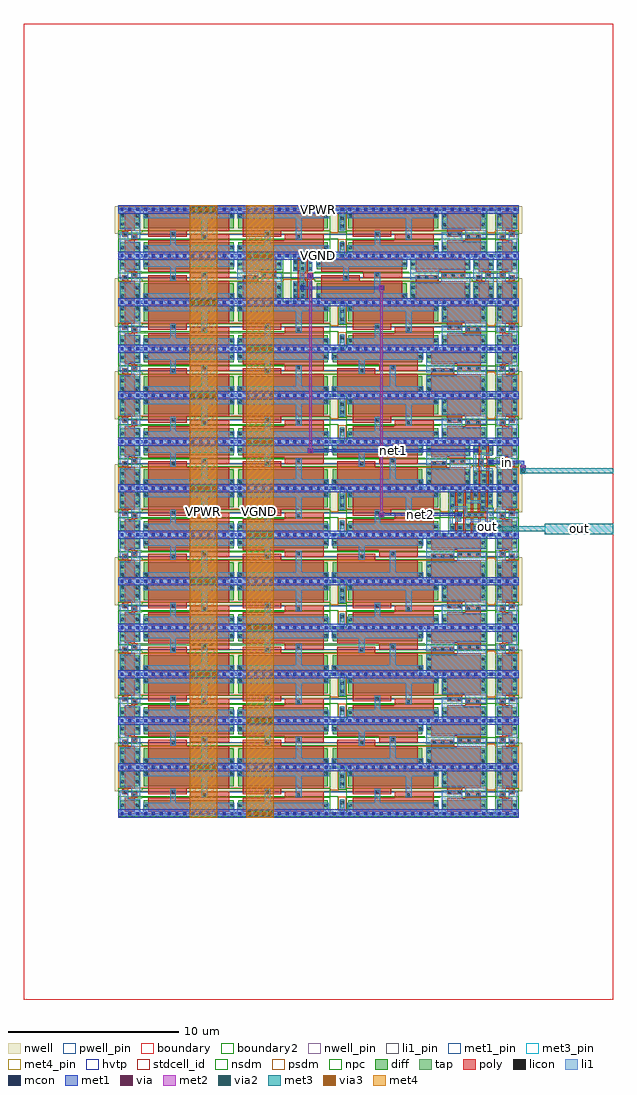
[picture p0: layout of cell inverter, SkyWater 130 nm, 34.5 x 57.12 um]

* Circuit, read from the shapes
.subckt inverter VGND VPWR in net1 net2 out
XM1 VGND VPWR VGND VGND sky130_fd_pr__nfet_01v8 w=0.55 l=0.59 m=27
XM2 VGND VPWR VGND VGND sky130_fd_pr__nfet_01v8 w=0.55 l=4.73 m=38
XM3 VGND VPWR VGND VGND sky130_fd_pr__nfet_01v8 w=0.55 l=1.97 m=8
XM4 net2 net1 VGND VGND sky130_fd_pr__nfet_01v8 w=0.65 l=0.15 m=2
XM5 VGND VPWR VGND VGND sky130_fd_pr__nfet_01v8 w=0.55 l=2.89 m=5
XM6 VGND net2 n1 VGND sky130_fd_pr__nfet_01v8 w=0.42 l=0.15
XM7 out n1 VGND VGND sky130_fd_pr__nfet_01v8 w=0.42 l=0.15 m=4
XM8 VGND n2 net1 VGND sky130_fd_pr__nfet_01v8 w=0.52 l=0.15
XM9 n2 in VGND VGND sky130_fd_pr__nfet_01v8 w=0.52 l=0.15
XM10 VPWR VGND VPWR VPWR sky130_fd_pr__pfet_01v8_hvt w=0.87 l=0.59 m=27
XM11 VPWR VGND VPWR VPWR sky130_fd_pr__pfet_01v8_hvt w=0.87 l=4.73 m=38
XM12 VPWR VGND VPWR VPWR sky130_fd_pr__pfet_01v8_hvt w=0.87 l=1.97 m=8
XM13 net2 net1 VPWR VPWR sky130_fd_pr__pfet_01v8_hvt w=1 l=0.15 m=2
XM14 VPWR VGND VPWR VPWR sky130_fd_pr__pfet_01v8_hvt w=0.87 l=2.89 m=5
XM15 VPWR net2 n1 VPWR sky130_fd_pr__pfet_01v8_hvt w=1 l=0.15
XM16 out n1 VPWR VPWR sky130_fd_pr__pfet_01v8_hvt w=1 l=0.15 m=4
XM17 VPWR n2 net1 VPWR sky130_fd_pr__pfet_01v8_hvt w=0.79 l=0.15
XM18 n2 in VPWR VPWR sky130_fd_pr__pfet_01v8_hvt w=0.79 l=0.15
.ends

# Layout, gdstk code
from math import pi, radians
import gdstk
lib = gdstk.Library(unit=1e-6, precision=1e-09)
def R(c, l, rs):  # rectangles x0, y0, x1, y1
    for r in rs: c.add(gdstk.rectangle(r[:2], r[2:], *l))
def A(c, l, x, y, w, h, nx, ny, dx, dy):  # array of equal rectangles
    R(c, l, [(x+i*dx, y+j*dy, x+i*dx+w, y+j*dy+h) for i in range(nx) for j in range(ny)])
def P(c, l, *ps):  # polygons
    for p in ps: c.add(gdstk.Polygon(p, *l))
nwell_pin = (64, 16)
nwell = (64, 20)
diff = (65, 20)
tap = (65, 44)
poly = (66, 20)
licon = (66, 44)
li1_pin = (67, 16)
li1 = (67, 20)
mcon = (67, 44)
met1_pin = (68, 16)
met1 = (68, 20)
via = (68, 44)
met2 = (69, 20)
via2 = (69, 44)
met3_pin = (70, 16)
met3 = (70, 20)
via3 = (70, 44)
met4_pin = (71, 16)
met4 = (71, 20)
hvtp = (78, 44)
stdcell_id = (81, 4)
nsdm = (93, 44)
psdm = (94, 20)
npc = (95, 20)
pwell_pin = (122, 16)
boundary = (235, 4)
boundary2 = (236, 0)

sky130_ef_sc_hd__decap_1 = lib.new_cell('sky130_ef_sc_hd__decap_12')
R(sky130_ef_sc_hd__decap_1, nwell_pin, [(0.145,2.635,0.315,2.805)])
R(sky130_ef_sc_hd__decap_1, nwell, [(-0.19,1.305,5.71,2.91)])
R(sky130_ef_sc_hd__decap_1, diff, [(0.135,0.235,5.385,0.785), (0.135,1.615,5.385,2.485)])
P(sky130_ef_sc_hd__decap_1, poly, [(0.395,1.125),(0.395,2.615),(5.125,2.615),(5.125,1.485),(2.645,1.485),(2.645,1.125)],
  [(0.395,0.105),(0.395,0.915),(2.855,0.915),(2.855,1.275),(5.125,1.275),(5.125,0.105)])
R(sky130_ef_sc_hd__decap_1, licon, [(0.175,0.39,0.345,0.56), (5.175,0.39,5.345,0.56), (3.575,1.025,3.745,1.195), (1.755,1.205,1.925,1.375), (0.175,2.255,0.345,2.425), (5.175,2.255,5.345,2.425)])
R(sky130_ef_sc_hd__decap_1, li1, [(0,-0.085,5.52,0.085), (0.085,0.085,5.43,0.63), (1.67,0.63,2.01,1.46), (3.49,0.95,3.84,2.2), (0.085,2.2,5.43,2.635), (0,2.635,5.52,2.805)])
A(sky130_ef_sc_hd__decap_1, mcon, 0.145, -0.085, 0.17, 0.17, 12, 2, 0.46, 2.72)
R(sky130_ef_sc_hd__decap_1, met1_pin, [(0.145,-0.085,0.315,0.085), (0.145,2.635,0.315,2.805)])
R(sky130_ef_sc_hd__decap_1, hvtp, [(0,1.25,5.52,2.72)])
R(sky130_ef_sc_hd__decap_1, stdcell_id, [(0,0,5.52,2.72)])
R(sky130_ef_sc_hd__decap_1, nsdm, [(0,-0.19,5.52,1.015)])
R(sky130_ef_sc_hd__decap_1, psdm, [(0,1.485,5.52,2.91)])
R(sky130_ef_sc_hd__decap_1, npc, [(0,0.925,5.52,1.475)])
R(sky130_ef_sc_hd__decap_1, pwell_pin, [(0.145,-0.085,0.315,0.085)])
R(sky130_ef_sc_hd__decap_1, boundary2, [(0,0,5.52,2.72)])
sky130_ef_sc_hd__decap_1.add(gdstk.FlexPath([(0,2.72),(5.52,2.72)], 0.48, ends="flush", simple_path=True, layer=68, datatype=20))  # met1
sky130_ef_sc_hd__decap_1.add(gdstk.FlexPath([(0,0),(5.52,0)], 0.48, ends="flush", simple_path=True, layer=68, datatype=20))  # met1
sky130_ef_sc_hd__decap_1.add(gdstk.Label('VGND', (0.23,0), layer=68, texttype=5))
sky130_ef_sc_hd__decap_1.add(gdstk.Label('VPWR', (0.23,2.72), layer=68, texttype=5))
sky130_ef_sc_hd__decap_1.add(gdstk.Label('VPB', (0.23,2.72), layer=64, texttype=5))
sky130_ef_sc_hd__decap_1.add(gdstk.Label('VNB', (0.23,0), layer=64, texttype=59))
sky130_ef_sc_hd__decap_1.add(gdstk.Label('decap_12', (0,0), layer=83, texttype=44))

sky130_fd_sc_hd__decap_3 = lib.new_cell('sky130_fd_sc_hd__decap_3')
R(sky130_fd_sc_hd__decap_3, nwell_pin, [(0.145,2.635,0.315,2.805)])
R(sky130_fd_sc_hd__decap_3, nwell, [(-0.19,1.305,1.57,2.91)])
R(sky130_fd_sc_hd__decap_3, diff, [(0.135,0.235,1.245,0.785), (0.135,1.615,1.245,2.485)])
P(sky130_fd_sc_hd__decap_3, poly, [(0.395,0.105),(0.395,0.915),(0.795,0.915),(0.795,1.255),(1.125,1.255),(1.125,0.925),(0.985,0.925),(0.985,0.105)],
  [(0.255,1.125),(0.255,1.455),(0.395,1.455),(0.395,2.615),(0.985,2.615),(0.985,1.465),(0.585,1.465),(0.585,1.125)])
R(sky130_fd_sc_hd__decap_3, licon, [(0.175,0.4,0.345,0.57), (1.035,0.4,1.205,0.57), (0.875,1.005,1.045,1.175), (0.335,1.205,0.505,1.375), (0.175,1.78,0.345,1.95), (1.035,1.78,1.205,1.95), (0.175,2.255,0.345,2.425), (1.035,2.255,1.205,2.425)])
P(sky130_fd_sc_hd__decap_3, li1, [(0.775,1.005),(0.775,1.545),(0.085,1.545),(0.085,2.635),(0,2.635),(0,2.805),(1.38,2.805),(1.38,2.635),(1.295,2.635),(1.295,1.005)],
  [(0,-0.085),(0,0.085),(0.085,0.085),(0.085,1.375),(0.605,1.375),(0.605,0.835),(1.295,0.835),(1.295,0.085),(1.38,0.085),(1.38,-0.085)])
A(sky130_fd_sc_hd__decap_3, mcon, 0.145, -0.085, 0.17, 0.17, 3, 2, 0.46, 2.72)
R(sky130_fd_sc_hd__decap_3, met1_pin, [(0.145,-0.085,0.315,0.085), (0.145,2.635,0.315,2.805)])
R(sky130_fd_sc_hd__decap_3, hvtp, [(0,1.25,1.38,2.72)])
R(sky130_fd_sc_hd__decap_3, stdcell_id, [(0,0,1.38,2.72)])
R(sky130_fd_sc_hd__decap_3, nsdm, [(0,-0.19,1.38,1.015)])
R(sky130_fd_sc_hd__decap_3, psdm, [(0,1.485,1.38,2.91)])
P(sky130_fd_sc_hd__decap_3, npc, [(0.775,0.905),(0.775,0.975),(0,0.975),(0,1.475),(0.605,1.475),(0.605,1.345),(1.38,1.345),(1.38,0.905)])
R(sky130_fd_sc_hd__decap_3, pwell_pin, [(0.145,-0.085,0.315,0.085)])
R(sky130_fd_sc_hd__decap_3, boundary2, [(0,0,1.38,2.72)])
sky130_fd_sc_hd__decap_3.add(gdstk.FlexPath([(0,2.72),(1.38,2.72)], 0.48, ends="flush", simple_path=True, layer=68, datatype=20))  # met1
sky130_fd_sc_hd__decap_3.add(gdstk.FlexPath([(0,0),(1.38,0)], 0.48, ends="flush", simple_path=True, layer=68, datatype=20))  # met1
sky130_fd_sc_hd__decap_3.add(gdstk.Label('VPWR', (0.23,2.72), layer=68, texttype=5))
sky130_fd_sc_hd__decap_3.add(gdstk.Label('VGND', (0.23,0), layer=68, texttype=5))
sky130_fd_sc_hd__decap_3.add(gdstk.Label('VPB', (0.23,2.72), layer=64, texttype=5))
sky130_fd_sc_hd__decap_3.add(gdstk.Label('VNB', (0.23,0), layer=64, texttype=59))
sky130_fd_sc_hd__decap_3.add(gdstk.Label('decap_3', (0,0), layer=83, texttype=44))

sky130_fd_sc_hd__fill_1 = lib.new_cell('sky130_fd_sc_hd__fill_1')
R(sky130_fd_sc_hd__fill_1, nwell_pin, [(0.155,2.67,0.255,2.755)])
R(sky130_fd_sc_hd__fill_1, nwell, [(-0.19,1.305,0.65,2.91)])
R(sky130_fd_sc_hd__fill_1, mcon, [(0.145,-0.085,0.315,0.085), (0.145,2.635,0.315,2.805)])
R(sky130_fd_sc_hd__fill_1, met1_pin, [(0.11,-0.065,0.29,0.08), (0.11,2.635,0.29,2.785)])
R(sky130_fd_sc_hd__fill_1, hvtp, [(0,1.25,0.46,2.72)])
R(sky130_fd_sc_hd__fill_1, stdcell_id, [(0,0,0.46,2.72)])
R(sky130_fd_sc_hd__fill_1, nsdm, [(0,-0.19,0.46,1.015)])
R(sky130_fd_sc_hd__fill_1, psdm, [(0,1.355,0.46,2.91)])
R(sky130_fd_sc_hd__fill_1, pwell_pin, [(0.14,-0.055,0.26,0.055)])
sky130_fd_sc_hd__fill_1.add(gdstk.FlexPath([(0,2.72),(0.46,2.72)], 0.48, ends="flush", simple_path=True, layer=68, datatype=20))  # met1
sky130_fd_sc_hd__fill_1.add(gdstk.FlexPath([(0,0),(0.46,0)], 0.48, ends="flush", simple_path=True, layer=68, datatype=20))  # met1
sky130_fd_sc_hd__fill_1.add(gdstk.FlexPath([(0,0),(0.46,0)], 0.17, ends="flush", simple_path=True, layer=67, datatype=20))  # li1
sky130_fd_sc_hd__fill_1.add(gdstk.FlexPath([(0,2.72),(0.46,2.72)], 0.17, ends="flush", simple_path=True, layer=67, datatype=20))  # li1
sky130_fd_sc_hd__fill_1.add(gdstk.Label('VPWR', (0.205,2.72), layer=68, texttype=5))
sky130_fd_sc_hd__fill_1.add(gdstk.Label('VGND', (0.205,0), layer=68, texttype=5))
sky130_fd_sc_hd__fill_1.add(gdstk.Label('VPB', (0.23,2.72), layer=64, texttype=5))
sky130_fd_sc_hd__fill_1.add(gdstk.Label('VNB', (0.23,0), layer=64, texttype=59))
sky130_fd_sc_hd__fill_1.add(gdstk.Label('fill_1', (0,0), layer=83, texttype=44))

sky130_fd_sc_hd__tapvpwr = lib.new_cell('sky130_fd_sc_hd__tapvpwrvgnd_1')
R(sky130_fd_sc_hd__tapvpwr, nwell, [(-0.19,1.305,0.65,2.91)])
R(sky130_fd_sc_hd__tapvpwr, tap, [(0.145,0.32,0.315,0.845), (0.145,1.525,0.315,2.4)])
R(sky130_fd_sc_hd__tapvpwr, licon, [(0.145,0.555,0.315,0.725), (0.145,1.645,0.315,1.815), (0.145,2.11,0.315,2.28)])
R(sky130_fd_sc_hd__tapvpwr, li1, [(0,-0.085,0.46,0.085), (0.085,0,0.375,0.81), (0.085,1.47,0.375,2.72), (0,2.635,0.46,2.805)])
R(sky130_fd_sc_hd__tapvpwr, mcon, [(0.145,-0.085,0.315,0.085), (0.145,2.635,0.315,2.805)])
R(sky130_fd_sc_hd__tapvpwr, met1_pin, [(0.105,-0.09,0.36,0.1), (0.11,2.62,0.375,2.765)])
R(sky130_fd_sc_hd__tapvpwr, met1, [(0,-0.24,0.46,0.24), (0,2.48,0.46,2.96)])
R(sky130_fd_sc_hd__tapvpwr, hvtp, [(0,1.25,0.46,2.72)])
R(sky130_fd_sc_hd__tapvpwr, stdcell_id, [(0,0,0.46,2.72)])
R(sky130_fd_sc_hd__tapvpwr, nsdm, [(0,-0.19,0.46,0.19), (0,1.395,0.46,2.53)])
R(sky130_fd_sc_hd__tapvpwr, psdm, [(0,0.19,0.46,0.975), (0,2.53,0.46,2.91)])
sky130_fd_sc_hd__tapvpwr.add(gdstk.Label('VPWR', (0.23,2.72), layer=68, texttype=5))
sky130_fd_sc_hd__tapvpwr.add(gdstk.Label('VGND', (0.23,0), layer=68, texttype=5))
sky130_fd_sc_hd__tapvpwr.add(gdstk.Label('tapvpwrvgnd_1', (0,0), layer=83, texttype=44))

sky130_fd_sc_hd__clkbuf_ = lib.new_cell('sky130_fd_sc_hd__clkbuf_4')
R(sky130_fd_sc_hd__clkbuf_, nwell_pin, [(0.145,2.635,0.315,2.805)])
R(sky130_fd_sc_hd__clkbuf_, nwell, [(-0.19,1.305,2.95,2.91)])
R(sky130_fd_sc_hd__clkbuf_, diff, [(0.135,0.235,2.615,0.655), (0.135,1.485,2.62,2.485)])
P(sky130_fd_sc_hd__clkbuf_, poly, [(0.885,0.105),(0.885,1.05),(0.88,1.05),(0.88,2.615),(1.03,2.615),(1.03,1.295),(1.31,1.295),(1.31,2.615),(1.46,2.615),(1.46,1.295),(1.74,1.295),(1.74,2.615),(1.89,2.615),(1.89,1.295),(2.17,1.295),(2.17,2.615),(2.32,2.615),(2.32,1.185),(2.325,1.185),(2.325,0.105),(2.175,0.105),(2.175,1.02),(1.895,1.02),(1.895,0.105),(1.745,0.105),(1.745,1.02),(1.465,1.02),(1.465,0.105),(1.315,0.105),(1.315,1.02),(1.035,1.02),(1.035,0.105)],
  [(0.4,0.105),(0.4,0.995),(0.345,0.995),(0.345,1.325),(0.4,1.325),(0.4,2.615),(0.55,2.615),(0.55,1.325),(0.645,1.325),(0.645,0.995),(0.55,0.995),(0.55,0.105)])
A(sky130_fd_sc_hd__clkbuf_, licon, 1.155, 1.075, 0.17, 0.17, 3, 1, 0.34, 0)
A(sky130_fd_sc_hd__clkbuf_, licon, 1.945, 1.535, 0.17, 0.17, 1, 3, 0, 0.34)
R(sky130_fd_sc_hd__clkbuf_, licon, [(0.605,0.315,0.775,0.485), (1.52,0.315,1.69,0.485), (2.38,0.315,2.55,0.485), (0.175,0.335,0.345,0.505), (1.09,0.425,1.26,0.595), (1.95,0.425,2.12,0.595), (0.425,1.075,0.595,1.245), (0.175,1.605,0.345,1.775), (2.375,1.845,2.545,2.015), (0.605,1.915,0.775,2.085), (1.085,2.08,1.255,2.25), (2.375,2.185,2.545,2.355), (0.175,2.215,0.345,2.385), (0.605,2.255,0.775,2.425), (1.515,2.255,1.685,2.425)])
R(sky130_fd_sc_hd__clkbuf_, li1_pin, [(0.605,0.765,0.775,0.935), (2.445,0.765,2.615,0.935), (0.605,1.105,0.775,1.275), (2.445,1.105,2.615,1.275), (1.985,1.445,2.155,1.615)])
R(sky130_fd_sc_hd__clkbuf_, li1, [(0.425,0.755,0.775,1.325)])
P(sky130_fd_sc_hd__clkbuf_, li1, [(0,-0.085),(0,0.085),(0.555,0.085),(0.555,0.565),(0.83,0.565),(0.83,0.085),(1.475,0.085),(1.475,0.565),(1.73,0.565),(1.73,0.085),(2.335,0.085),(2.335,0.565),(2.615,0.565),(2.615,0.085),(2.76,0.085),(2.76,-0.085)],
  [(1.01,0.345),(1.01,0.905),(2.255,0.905),(2.255,1.415),(1.905,1.415),(1.905,1.835),(1.045,1.835),(1.045,2.465),(1.305,2.465),(1.305,2.005),(1.905,2.005),(1.905,2.465),(2.165,2.465),(2.165,1.585),(2.66,1.585),(2.66,0.735),(2.165,0.735),(2.165,0.345),(1.905,0.345),(1.905,0.735),(1.305,0.735),(1.305,0.345)],
  [(0.085,0.255),(0.085,2.465),(0.395,2.465),(0.395,1.665),(1.115,1.665),(1.115,1.245),(2.085,1.245),(2.085,1.075),(0.945,1.075),(0.945,1.495),(0.255,1.495),(0.255,0.585),(0.385,0.585),(0.385,0.255)],
  [(2.335,1.765),(2.335,2.635),(1.73,2.635),(1.73,2.175),(1.475,2.175),(1.475,2.635),(0.875,2.635),(0.875,1.835),(0.565,1.835),(0.565,2.635),(0,2.635),(0,2.805),(2.76,2.805),(2.76,2.635),(2.62,2.635),(2.62,1.765)])
A(sky130_fd_sc_hd__clkbuf_, mcon, 0.145, -0.085, 0.17, 0.17, 6, 2, 0.46, 2.72)
R(sky130_fd_sc_hd__clkbuf_, met1_pin, [(0.145,-0.085,0.315,0.085), (0.145,2.635,0.315,2.805)])
R(sky130_fd_sc_hd__clkbuf_, hvtp, [(0,1.25,2.76,2.72)])
R(sky130_fd_sc_hd__clkbuf_, stdcell_id, [(0,0,2.76,2.72)])
R(sky130_fd_sc_hd__clkbuf_, nsdm, [(0,-0.19,2.76,1.015)])
R(sky130_fd_sc_hd__clkbuf_, psdm, [(0,1.355,2.76,2.91)])
R(sky130_fd_sc_hd__clkbuf_, npc, [(0,0.975,2.76,1.345)])
R(sky130_fd_sc_hd__clkbuf_, pwell_pin, [(0.145,-0.085,0.315,0.085)])
R(sky130_fd_sc_hd__clkbuf_, boundary2, [(0,0,2.76,2.72)])
sky130_fd_sc_hd__clkbuf_.add(gdstk.FlexPath([(0,0),(2.76,0)], 0.48, ends="flush", simple_path=True, layer=68, datatype=20))  # met1
sky130_fd_sc_hd__clkbuf_.add(gdstk.FlexPath([(0,2.72),(2.76,2.72)], 0.48, ends="flush", simple_path=True, layer=68, datatype=20))  # met1
sky130_fd_sc_hd__clkbuf_.add(gdstk.Label('VGND', (0.23,0), layer=68, texttype=5))
sky130_fd_sc_hd__clkbuf_.add(gdstk.Label('VPWR', (0.23,2.72), layer=68, texttype=5))
sky130_fd_sc_hd__clkbuf_.add(gdstk.Label('VPB', (0.23,2.72), layer=64, texttype=5))
sky130_fd_sc_hd__clkbuf_.add(gdstk.Label('VNB', (0.23,0), layer=64, texttype=59))
sky130_fd_sc_hd__clkbuf_.add(gdstk.Label('clkbuf_4', (0,0), layer=83, texttype=44))
sky130_fd_sc_hd__clkbuf_.add(gdstk.Label('X', (2.07,1.53), layer=67, texttype=5))
sky130_fd_sc_hd__clkbuf_.add(gdstk.Label('A', (0.69,0.85), layer=67, texttype=5))
sky130_fd_sc_hd__clkbuf_.add(gdstk.Label('X', (2.53,0.85), layer=67, texttype=5))
sky130_fd_sc_hd__clkbuf_.add(gdstk.Label('A', (0.69,1.19), layer=67, texttype=5))
sky130_fd_sc_hd__clkbuf_.add(gdstk.Label('X', (2.53,1.19), layer=67, texttype=5))

sky130_fd_sc_hd__decap_6 = lib.new_cell('sky130_fd_sc_hd__decap_6')
R(sky130_fd_sc_hd__decap_6, nwell_pin, [(0.145,2.635,0.315,2.805)])
R(sky130_fd_sc_hd__decap_6, nwell, [(-0.19,1.305,2.95,2.91)])
R(sky130_fd_sc_hd__decap_6, diff, [(0.135,0.235,2.625,0.785), (0.135,1.615,2.625,2.485)])
P(sky130_fd_sc_hd__decap_6, poly, [(0.395,1.125),(0.395,2.615),(2.365,2.615),(2.365,1.485),(1.275,1.485),(1.275,1.125)],
  [(0.395,0.105),(0.395,0.915),(1.485,0.915),(1.485,1.275),(2.365,1.275),(2.365,0.105)])
R(sky130_fd_sc_hd__decap_6, licon, [(0.175,0.39,0.345,0.56), (2.415,0.39,2.585,0.56), (1.565,1.025,1.735,1.195), (2.115,1.025,2.285,1.195), (0.475,1.205,0.645,1.375), (1.025,1.205,1.195,1.375), (0.175,1.745,0.345,1.915), (2.415,1.745,2.585,1.915), (0.175,2.255,0.345,2.425), (2.415,2.255,2.585,2.425)])
P(sky130_fd_sc_hd__decap_6, li1, [(0,-0.085),(0,0.085),(0.085,0.085),(0.085,1.375),(1.295,1.375),(1.295,0.855),(2.675,0.855),(2.675,0.085),(2.76,0.085),(2.76,-0.085)],
  [(1.465,1.025),(1.465,1.545),(0.085,1.545),(0.085,2.635),(0,2.635),(0,2.805),(2.76,2.805),(2.76,2.635),(2.675,2.635),(2.675,1.025)])
A(sky130_fd_sc_hd__decap_6, mcon, 0.145, -0.085, 0.17, 0.17, 6, 2, 0.46, 2.72)
R(sky130_fd_sc_hd__decap_6, met1_pin, [(0.145,-0.085,0.315,0.085), (0.145,2.635,0.315,2.805)])
R(sky130_fd_sc_hd__decap_6, hvtp, [(0,1.25,2.76,2.72)])
R(sky130_fd_sc_hd__decap_6, stdcell_id, [(0,0,2.76,2.72)])
R(sky130_fd_sc_hd__decap_6, nsdm, [(0,-0.19,2.76,1.015)])
R(sky130_fd_sc_hd__decap_6, psdm, [(0,1.485,2.76,2.91)])
P(sky130_fd_sc_hd__decap_6, npc, [(1.465,0.925),(1.465,0.975),(0,0.975),(0,1.475),(1.295,1.475),(1.295,1.345),(2.76,1.345),(2.76,0.925)])
R(sky130_fd_sc_hd__decap_6, pwell_pin, [(0.145,-0.085,0.315,0.085)])
R(sky130_fd_sc_hd__decap_6, boundary2, [(0,0,2.76,2.72)])
sky130_fd_sc_hd__decap_6.add(gdstk.FlexPath([(0,2.72),(2.76,2.72)], 0.48, ends="flush", simple_path=True, layer=68, datatype=20))  # met1
sky130_fd_sc_hd__decap_6.add(gdstk.FlexPath([(0,0),(2.76,0)], 0.48, ends="flush", simple_path=True, layer=68, datatype=20))  # met1
sky130_fd_sc_hd__decap_6.add(gdstk.Label('VPWR', (0.23,2.72), layer=68, texttype=5))
sky130_fd_sc_hd__decap_6.add(gdstk.Label('VGND', (0.23,0), layer=68, texttype=5))
sky130_fd_sc_hd__decap_6.add(gdstk.Label('VPB', (0.23,2.72), layer=64, texttype=5))
sky130_fd_sc_hd__decap_6.add(gdstk.Label('VNB', (0.23,0), layer=64, texttype=59))
sky130_fd_sc_hd__decap_6.add(gdstk.Label('decap_6', (0,0), layer=83, texttype=44))

sky130_fd_sc_hd__decap_8 = lib.new_cell('sky130_fd_sc_hd__decap_8')
R(sky130_fd_sc_hd__decap_8, nwell_pin, [(0.145,2.635,0.315,2.805)])
R(sky130_fd_sc_hd__decap_8, nwell, [(-0.19,1.305,3.87,2.91)])
R(sky130_fd_sc_hd__decap_8, diff, [(0.135,0.235,3.545,0.785), (0.135,1.615,3.545,2.485)])
P(sky130_fd_sc_hd__decap_8, poly, [(0.395,1.125),(0.395,2.615),(3.285,2.615),(3.285,1.485),(1.715,1.485),(1.715,1.125)],
  [(0.395,0.105),(0.395,0.915),(1.925,0.915),(1.925,1.275),(3.285,1.275),(3.285,0.105)])
A(sky130_fd_sc_hd__decap_8, licon, 2.005, 1.025, 0.17, 0.17, 3, 1, 0.515, 0)
A(sky130_fd_sc_hd__decap_8, licon, 0.475, 1.205, 0.17, 0.17, 3, 1, 0.495, 0)
R(sky130_fd_sc_hd__decap_8, licon, [(0.175,0.39,0.345,0.56), (3.335,0.39,3.505,0.56), (0.175,1.745,0.345,1.915), (3.335,1.745,3.505,1.915), (0.175,2.255,0.345,2.425), (3.335,2.255,3.505,2.425)])
P(sky130_fd_sc_hd__decap_8, li1, [(0,-0.085),(0,0.085),(0.085,0.085),(0.085,1.375),(1.735,1.375),(1.735,0.855),(3.595,0.855),(3.595,0.085),(3.68,0.085),(3.68,-0.085)],
  [(1.905,1.025),(1.905,1.545),(0.085,1.545),(0.085,2.635),(0,2.635),(0,2.805),(3.68,2.805),(3.68,2.635),(3.595,2.635),(3.595,1.025)])
A(sky130_fd_sc_hd__decap_8, mcon, 0.145, -0.085, 0.17, 0.17, 8, 2, 0.46, 2.72)
R(sky130_fd_sc_hd__decap_8, met1_pin, [(0.145,-0.085,0.315,0.085), (0.145,2.635,0.315,2.805)])
R(sky130_fd_sc_hd__decap_8, hvtp, [(0,1.25,3.68,2.72)])
R(sky130_fd_sc_hd__decap_8, stdcell_id, [(0,0,3.68,2.72)])
R(sky130_fd_sc_hd__decap_8, nsdm, [(0,-0.19,3.68,1.015)])
R(sky130_fd_sc_hd__decap_8, psdm, [(0,1.485,3.68,2.91)])
P(sky130_fd_sc_hd__decap_8, npc, [(1.905,0.925),(1.905,0.975),(0,0.975),(0,1.475),(1.735,1.475),(1.735,1.345),(3.68,1.345),(3.68,0.925)])
R(sky130_fd_sc_hd__decap_8, pwell_pin, [(0.145,-0.085,0.315,0.085)])
R(sky130_fd_sc_hd__decap_8, boundary2, [(0,0,3.68,2.72)])
sky130_fd_sc_hd__decap_8.add(gdstk.FlexPath([(0,2.72),(3.68,2.72)], 0.48, ends="flush", simple_path=True, layer=68, datatype=20))  # met1
sky130_fd_sc_hd__decap_8.add(gdstk.FlexPath([(0,0),(3.68,0)], 0.48, ends="flush", simple_path=True, layer=68, datatype=20))  # met1
sky130_fd_sc_hd__decap_8.add(gdstk.Label('VPWR', (0.23,2.72), layer=68, texttype=5))
sky130_fd_sc_hd__decap_8.add(gdstk.Label('VGND', (0.23,0), layer=68, texttype=5))
sky130_fd_sc_hd__decap_8.add(gdstk.Label('VPB', (0.23,2.72), layer=64, texttype=5))
sky130_fd_sc_hd__decap_8.add(gdstk.Label('VNB', (0.23,0), layer=64, texttype=59))
sky130_fd_sc_hd__decap_8.add(gdstk.Label('decap_8', (0,0), layer=83, texttype=44))

sky130_fd_sc_hd__buf_1 = lib.new_cell('sky130_fd_sc_hd__buf_1')
R(sky130_fd_sc_hd__buf_1, nwell_pin, [(0.145,2.635,0.315,2.805)])
R(sky130_fd_sc_hd__buf_1, nwell, [(-0.19,1.305,1.57,2.91)])
R(sky130_fd_sc_hd__buf_1, diff, [(0.135,0.235,1.245,0.755), (0.135,1.695,1.245,2.485)])
P(sky130_fd_sc_hd__buf_1, poly, [(0.835,0.105),(0.835,1.06),(0.725,1.06),(0.725,1.39),(0.835,1.39),(0.835,2.615),(0.985,2.615),(0.985,1.39),(0.995,1.39),(0.995,1.06),(0.985,1.06),(0.985,0.105)],
  [(0.395,0.105),(0.395,0.83),(0.365,0.83),(0.365,0.995),(0.135,0.995),(0.135,1.325),(0.365,1.325),(0.365,1.62),(0.395,1.62),(0.395,2.615),(0.545,2.615),(0.545,1.5),(0.515,1.5),(0.515,0.95),(0.545,0.95),(0.545,0.105)])
A(sky130_fd_sc_hd__buf_1, licon, 0.175, 2.215, 0.17, 0.17, 3, 1, 0.43, 0)
R(sky130_fd_sc_hd__buf_1, licon, [(0.605,0.295,0.775,0.465), (0.175,0.36,0.345,0.53), (1.035,0.445,1.205,0.615), (0.185,1.075,0.355,1.245), (0.775,1.14,0.945,1.31), (1.035,1.81,1.205,1.98), (0.175,1.875,0.345,2.045), (0.605,1.875,0.775,2.045)])
R(sky130_fd_sc_hd__buf_1, li1_pin, [(0.155,-0.085,0.325,0.085), (1.055,0.425,1.225,0.595), (0.145,1.105,0.315,1.275), (1.055,1.785,1.225,1.955), (1.055,2.125,1.225,2.295), (0.145,2.635,0.315,2.805)])
R(sky130_fd_sc_hd__buf_1, li1, [(0.105,0.985,0.445,1.355)])
P(sky130_fd_sc_hd__buf_1, li1, [(1.035,0.255),(1.035,0.76),(1.115,0.76),(1.115,1.56),(1.025,1.56),(1.025,2.465),(1.295,2.465),(1.295,0.255)],
  [(0,-0.085),(0,0.085),(0.525,0.085),(0.525,0.465),(0.855,0.465),(0.855,0.085),(1.38,0.085),(1.38,-0.085)],
  [(0.175,0.255),(0.175,0.805),(0.67,0.805),(0.67,1.535),(0.165,1.535),(0.165,2.465),(0.345,2.465),(0.345,1.705),(0.84,1.705),(0.84,1.39),(0.945,1.39),(0.945,1.06),(0.84,1.06),(0.84,0.635),(0.345,0.635),(0.345,0.255)],
  [(0.525,1.875),(0.525,2.635),(0,2.635),(0,2.805),(1.38,2.805),(1.38,2.635),(0.855,2.635),(0.855,1.875)])
A(sky130_fd_sc_hd__buf_1, mcon, 0.145, -0.085, 0.17, 0.17, 3, 2, 0.46, 2.72)
R(sky130_fd_sc_hd__buf_1, met1_pin, [(0.155,-0.085,0.325,0.085), (0.145,2.635,0.315,2.805)])
R(sky130_fd_sc_hd__buf_1, hvtp, [(0,1.25,1.38,2.72)])
R(sky130_fd_sc_hd__buf_1, stdcell_id, [(0,0,1.38,2.72)])
R(sky130_fd_sc_hd__buf_1, nsdm, [(0,-0.19,1.38,1.015)])
R(sky130_fd_sc_hd__buf_1, psdm, [(0,1.42,1.38,2.91)])
R(sky130_fd_sc_hd__buf_1, npc, [(0,0.975,1.38,1.41)])
R(sky130_fd_sc_hd__buf_1, pwell_pin, [(0.155,-0.085,0.325,0.085)])
R(sky130_fd_sc_hd__buf_1, boundary2, [(0,0,1.38,2.72)])
sky130_fd_sc_hd__buf_1.add(gdstk.FlexPath([(0,0),(1.38,0)], 0.48, ends="flush", simple_path=True, layer=68, datatype=20))  # met1
sky130_fd_sc_hd__buf_1.add(gdstk.FlexPath([(0,2.72),(1.38,2.72)], 0.48, ends="flush", simple_path=True, layer=68, datatype=20))  # met1
sky130_fd_sc_hd__buf_1.add(gdstk.Label('VGND', (0.23,0), layer=68, texttype=5))
sky130_fd_sc_hd__buf_1.add(gdstk.Label('VPWR', (0.23,2.72), layer=68, texttype=5))
sky130_fd_sc_hd__buf_1.add(gdstk.Label('VPB', (0.23,2.72), layer=64, texttype=5))
sky130_fd_sc_hd__buf_1.add(gdstk.Label('VNB', (0.23,0), layer=64, texttype=59))
sky130_fd_sc_hd__buf_1.add(gdstk.Label('buf_1', (0,0), layer=83, texttype=44))
sky130_fd_sc_hd__buf_1.add(gdstk.Label('VPWR', (0.23,2.72), layer=67, texttype=5))
sky130_fd_sc_hd__buf_1.add(gdstk.Label('VGND', (0.23,0), layer=67, texttype=5))
sky130_fd_sc_hd__buf_1.add(gdstk.Label('X', (1.14,0.51), layer=67, texttype=5))
sky130_fd_sc_hd__buf_1.add(gdstk.Label('X', (1.14,1.87), layer=67, texttype=5))
sky130_fd_sc_hd__buf_1.add(gdstk.Label('X', (1.14,2.21), layer=67, texttype=5))
sky130_fd_sc_hd__buf_1.add(gdstk.Label('A', (0.23,1.19), layer=67, texttype=5))

sky130_fd_sc_hd__inv_2 = lib.new_cell('sky130_fd_sc_hd__inv_2')
R(sky130_fd_sc_hd__inv_2, nwell_pin, [(0.145,2.635,0.315,2.805)])
R(sky130_fd_sc_hd__inv_2, nwell, [(-0.19,1.305,1.57,2.91)])
R(sky130_fd_sc_hd__inv_2, diff, [(0.145,0.235,1.235,0.885), (0.145,1.485,1.235,2.485)])
P(sky130_fd_sc_hd__inv_2, poly, [(0.405,0.105),(0.405,0.995),(0.105,0.995),(0.105,1.325),(0.405,1.325),(0.405,2.615),(0.555,2.615),(0.555,1.325),(0.825,1.325),(0.825,2.615),(0.975,2.615),(0.975,0.105),(0.825,0.105),(0.825,0.995),(0.555,0.995),(0.555,0.105)])
A(sky130_fd_sc_hd__inv_2, licon, 0.185, 0.295, 0.17, 0.17, 3, 2, 0.42, 0.36)
A(sky130_fd_sc_hd__inv_2, licon, 0.185, 1.575, 0.17, 0.17, 3, 3, 0.42, 0.34)
R(sky130_fd_sc_hd__inv_2, licon, [(0.185,1.075,0.355,1.245)])
A(sky130_fd_sc_hd__inv_2, li1_pin, 0.605, 0.765, 0.17, 0.17, 1, 3, 0, 0.34)
R(sky130_fd_sc_hd__inv_2, li1_pin, [(0.145,1.105,0.315,1.275)])
R(sky130_fd_sc_hd__inv_2, li1, [(0.105,1.075,0.435,1.325)])
P(sky130_fd_sc_hd__inv_2, li1, [(0.125,1.495),(0.125,2.635),(0,2.635),(0,2.805),(1.38,2.805),(1.38,2.635),(1.235,2.635),(1.235,1.495),(1.025,1.495),(1.025,2.635),(0.355,2.635),(0.355,1.495)],
  [(0.525,0.255),(0.525,0.885),(0.605,0.885),(0.605,1.485),(0.525,1.485),(0.525,2.465),(0.855,2.465),(0.855,0.255)],
  [(0,-0.085),(0,0.085),(0.125,0.085),(0.125,0.905),(0.355,0.905),(0.355,0.085),(1.025,0.085),(1.025,0.905),(1.235,0.905),(1.235,0.085),(1.38,0.085),(1.38,-0.085)])
A(sky130_fd_sc_hd__inv_2, mcon, 0.145, -0.085, 0.17, 0.17, 3, 2, 0.46, 2.72)
R(sky130_fd_sc_hd__inv_2, met1_pin, [(0.145,-0.085,0.315,0.085), (0.145,2.635,0.315,2.805)])
R(sky130_fd_sc_hd__inv_2, hvtp, [(0,1.25,1.38,2.72)])
R(sky130_fd_sc_hd__inv_2, stdcell_id, [(0,0,1.38,2.72)])
R(sky130_fd_sc_hd__inv_2, nsdm, [(0,-0.19,1.38,1.015)])
R(sky130_fd_sc_hd__inv_2, psdm, [(0,1.355,1.38,2.91)])
R(sky130_fd_sc_hd__inv_2, npc, [(0,0.975,1.38,1.345)])
R(sky130_fd_sc_hd__inv_2, pwell_pin, [(0.145,-0.085,0.315,0.085)])
R(sky130_fd_sc_hd__inv_2, boundary2, [(0,0,1.38,2.72)])
sky130_fd_sc_hd__inv_2.add(gdstk.FlexPath([(0,2.72),(1.38,2.72)], 0.48, ends="flush", simple_path=True, layer=68, datatype=20))  # met1
sky130_fd_sc_hd__inv_2.add(gdstk.FlexPath([(0,0),(1.38,0)], 0.48, ends="flush", simple_path=True, layer=68, datatype=20))  # met1
sky130_fd_sc_hd__inv_2.add(gdstk.Label('VPWR', (0.23,2.72), layer=68, texttype=5))
sky130_fd_sc_hd__inv_2.add(gdstk.Label('VGND', (0.23,0), layer=68, texttype=5))
sky130_fd_sc_hd__inv_2.add(gdstk.Label('VPB', (0.23,2.72), layer=64, texttype=5))
sky130_fd_sc_hd__inv_2.add(gdstk.Label('VNB', (0.23,0), layer=64, texttype=59))
sky130_fd_sc_hd__inv_2.add(gdstk.Label('inv_2', (0,0), layer=83, texttype=44))
sky130_fd_sc_hd__inv_2.add(gdstk.Label('A', (0.23,1.19), layer=67, texttype=5))
sky130_fd_sc_hd__inv_2.add(gdstk.Label('Y', (0.69,0.85), layer=67, texttype=5))
sky130_fd_sc_hd__inv_2.add(gdstk.Label('Y', (0.69,1.53), layer=67, texttype=5))
sky130_fd_sc_hd__inv_2.add(gdstk.Label('Y', (0.69,1.19), layer=67, texttype=5))

inverter = lib.new_cell('inverter')
R(inverter, li1, [(26.825,27.625,26.995,27.795), (25.445,28.305,25.615,28.475), (27.285,31.365,27.455,31.535), (26.365,32.045,26.535,32.215), (16.245,41.565,16.415,41.735), (16.705,42.245,16.875,42.415)])
R(inverter, mcon, [(26.825,27.625,26.995,27.795), (25.445,28.305,25.615,28.475), (27.285,31.365,27.455,31.535), (26.365,32.045,26.535,32.215), (16.245,41.565,16.415,41.735), (16.705,42.245,16.875,42.415)])
A(inverter, met1, 5.52, 10.64, 23.46, 0.48, 1, 14, 0, 2.72)
R(inverter, met1, [(27.21,27.58,27.53,27.64), (26.765,27.595,27.055,27.64), (26.765,27.64,27.53,27.78), (26.765,27.78,27.055,27.825), (27.21,27.78,27.53,27.84), (20.77,28.26,21.09,28.32), (25.385,28.275,25.675,28.32), (20.77,28.32,25.675,28.46), (20.77,28.46,21.09,28.52), (25.385,28.46,25.675,28.505), (29.05,30.98,29.37,31.24), (29.14,31.24,29.28,31.38), (27.225,31.335,27.515,31.38), (27.225,31.38,29.28,31.52), (27.225,31.52,27.515,31.565), (16.63,32,16.95,32.06), (26.305,32.015,26.595,32.06), (16.63,32.06,26.595,32.2), (16.63,32.2,16.95,32.26), (26.305,32.2,26.595,32.245), (20.77,41.52,21.09,41.58), (16.185,41.535,16.475,41.58), (16.185,41.58,21.09,41.72), (16.185,41.72,16.475,41.765), (20.77,41.72,21.09,41.78), (16.63,42.2,16.95,42.46)])
A(inverter, via, 13.105, 10.805, 0.15, 0.15, 5, 7, 0.32, 5.44)
A(inverter, via, 9.805, 13.525, 0.15, 0.15, 5, 7, 0.32, 5.44)
R(inverter, via, [(27.295,27.635,27.445,27.785), (20.855,28.315,21.005,28.465), (29.135,31.035,29.285,31.185), (16.715,32.055,16.865,32.205), (20.855,41.575,21.005,41.725), (16.715,42.255,16.865,42.405)])
A(inverter, met2, 13.05, 10.695, 1.54, 0.37, 1, 7, 0, 5.44)
A(inverter, met2, 9.75, 13.415, 1.54, 0.37, 1, 7, 0, 5.44)
R(inverter, met2, [(27.23,27.355,27.51,27.725), (27.24,27.725,27.5,27.87), (20.8,28.23,21.06,28.55), (20.86,28.55,21,41.49), (29.07,30.755,29.35,31.125), (29.08,31.125,29.34,31.27), (16.66,31.97,16.92,32.29), (16.72,32.29,16.86,42.17), (20.8,41.49,21.06,41.81), (16.66,42.17,16.92,42.49)])
A(inverter, via2, 13.12, 10.78, 0.2, 0.2, 4, 7, 0.4, 5.44)
A(inverter, via2, 9.82, 13.5, 0.2, 0.2, 4, 7, 0.4, 5.44)
R(inverter, via2, [(27.27,27.44,27.47,27.64), (29.11,30.84,29.31,31.04)])
R(inverter, met3_pin, [(30.5,27.24,34.5,27.84)])
A(inverter, met3, 13.03, 10.715, 1.58, 0.33, 1, 7, 0, 5.44)
A(inverter, met3, 9.73, 13.435, 1.58, 0.33, 1, 7, 0, 5.44)
R(inverter, met3, [(30.5,27.24,34.5,27.39), (27.205,27.375,27.535,27.39), (27.205,27.39,34.5,27.69), (27.205,27.69,27.535,27.705), (30.5,27.69,34.5,27.84), (29.045,30.775,29.375,30.79), (29.045,30.79,34.5,31.09), (29.045,31.09,29.375,31.105)])
A(inverter, via3, 13.12, 10.78, 0.2, 0.2, 4, 7, 0.4, 5.44)
A(inverter, via3, 9.82, 13.5, 0.2, 0.2, 4, 7, 0.4, 5.44)
R(inverter, met4_pin, [(9.72,10.64,11.32,46.48), (13.02,10.64,14.62,46.48)])
R(inverter, met4, [(9.72,10.64,11.32,46.48), (13.02,10.64,14.62,46.48)])
R(inverter, boundary, [(0,0,34.5,57.12)])
inverter.add(gdstk.Reference(sky130_ef_sc_hd__decap_1, (12.42,10.88)))
inverter.add(gdstk.Reference(sky130_ef_sc_hd__decap_1, (12.42,16.32), x_reflection=True))
inverter.add(gdstk.Reference(sky130_ef_sc_hd__decap_1, (12.42,16.32)))
inverter.add(gdstk.Reference(sky130_ef_sc_hd__decap_1, (12.42,21.76), x_reflection=True))
inverter.add(gdstk.Reference(sky130_ef_sc_hd__decap_1, (12.42,21.76)))
inverter.add(gdstk.Reference(sky130_ef_sc_hd__decap_1, (12.42,27.2), x_reflection=True))
inverter.add(gdstk.Reference(sky130_ef_sc_hd__decap_1, (6.9,27.2)))
inverter.add(gdstk.Reference(sky130_fd_sc_hd__decap_3, (5.52,27.2)))
inverter.add(gdstk.Reference(sky130_ef_sc_hd__decap_1, (12.42,27.2)))
inverter.add(gdstk.Reference(sky130_ef_sc_hd__decap_1, (12.42,32.64), x_reflection=True))
inverter.add(gdstk.Reference(sky130_fd_sc_hd__fill_1, (17.94,27.2)))
inverter.add(gdstk.Reference(sky130_ef_sc_hd__decap_1, (18.86,27.2)))
inverter.add(gdstk.Reference(sky130_fd_sc_hd__tapvpwr, (18.4,27.2)))
inverter.add(gdstk.Reference(sky130_fd_sc_hd__fill_1, (24.38,27.2)))
inverter.add(gdstk.Reference(sky130_fd_sc_hd__decap_3, (28.98,27.2), rotation=pi, x_reflection=True))
inverter.add(gdstk.Reference(sky130_fd_sc_hd__clkbuf_, (24.84,27.2)))
inverter.add(gdstk.Reference(sky130_ef_sc_hd__decap_1, (12.42,32.64)))
inverter.add(gdstk.Reference(sky130_ef_sc_hd__decap_1, (12.42,38.08), x_reflection=True))
inverter.add(gdstk.Reference(sky130_ef_sc_hd__decap_1, (12.42,38.08)))
inverter.add(gdstk.Reference(sky130_ef_sc_hd__decap_1, (17.02,43.52), x_reflection=True))
inverter.add(gdstk.Reference(sky130_ef_sc_hd__decap_1, (12.42,43.52)))
inverter.add(gdstk.Reference(sky130_fd_sc_hd__fill_1, (17.94,32.64)))
inverter.add(gdstk.Reference(sky130_ef_sc_hd__decap_1, (18.86,32.64)))
inverter.add(gdstk.Reference(sky130_fd_sc_hd__tapvpwr, (18.4,32.64)))
inverter.add(gdstk.Reference(sky130_fd_sc_hd__decap_6, (24.38,32.64)))
inverter.add(gdstk.Reference(sky130_fd_sc_hd__fill_1, (27.14,32.64)))
inverter.add(gdstk.Reference(sky130_fd_sc_hd__decap_3, (28.98,32.64), rotation=pi, x_reflection=True))
inverter.add(gdstk.Reference(sky130_fd_sc_hd__decap_3, (28.98,32.64), rotation=pi))
inverter.add(gdstk.Reference(sky130_ef_sc_hd__decap_1, (17.94,38.08), x_reflection=True))
inverter.add(gdstk.Reference(sky130_fd_sc_hd__decap_8, (23.46,38.08), x_reflection=True))
inverter.add(gdstk.Reference(sky130_fd_sc_hd__fill_1, (27.14,38.08), x_reflection=True))
inverter.add(gdstk.Reference(sky130_fd_sc_hd__decap_3, (28.98,38.08), rotation=pi))
inverter.add(gdstk.Reference(sky130_fd_sc_hd__buf_1, (27.6,32.64), rotation=pi))
inverter.add(gdstk.Reference(sky130_fd_sc_hd__fill_1, (17.94,38.08)))
inverter.add(gdstk.Reference(sky130_ef_sc_hd__decap_1, (18.86,38.08)))
inverter.add(gdstk.Reference(sky130_fd_sc_hd__tapvpwr, (18.4,38.08)))
inverter.add(gdstk.Reference(sky130_fd_sc_hd__decap_6, (24.38,38.08)))
inverter.add(gdstk.Reference(sky130_fd_sc_hd__fill_1, (27.14,38.08)))
inverter.add(gdstk.Reference(sky130_fd_sc_hd__decap_3, (28.98,38.08), rotation=pi, x_reflection=True))
inverter.add(gdstk.Reference(sky130_fd_sc_hd__decap_6, (23.46,32.64), x_reflection=True))
inverter.add(gdstk.Reference(sky130_fd_sc_hd__decap_8, (22.54,43.52), x_reflection=True))
inverter.add(gdstk.Reference(sky130_fd_sc_hd__decap_3, (26.22,43.52), x_reflection=True))
inverter.add(gdstk.Reference(sky130_fd_sc_hd__decap_3, (28.98,43.52), rotation=pi))
inverter.add(gdstk.Reference(sky130_ef_sc_hd__decap_1, (17.94,32.64), x_reflection=True))
inverter.add(gdstk.Reference(sky130_fd_sc_hd__fill_1, (17.94,43.52)))
inverter.add(gdstk.Reference(sky130_ef_sc_hd__decap_1, (18.86,43.52)))
inverter.add(gdstk.Reference(sky130_fd_sc_hd__tapvpwr, (18.4,43.52)))
inverter.add(gdstk.Reference(sky130_fd_sc_hd__decap_6, (24.38,43.52)))
inverter.add(gdstk.Reference(sky130_fd_sc_hd__fill_1, (27.14,43.52)))
inverter.add(gdstk.Reference(sky130_fd_sc_hd__decap_3, (28.98,43.52), rotation=pi, x_reflection=True))
inverter.add(gdstk.Reference(sky130_fd_sc_hd__fill_1, (15.18,43.52), x_reflection=True))
inverter.add(gdstk.Reference(sky130_fd_sc_hd__decap_3, (5.52,38.08)))
inverter.add(gdstk.Reference(sky130_fd_sc_hd__inv_2, (17.02,43.52), rotation=pi))
inverter.add(gdstk.Reference(sky130_fd_sc_hd__decap_3, (5.52,38.08), x_reflection=True))
inverter.add(gdstk.Reference(sky130_fd_sc_hd__decap_3, (5.52,32.64)))
inverter.add(gdstk.Reference(sky130_ef_sc_hd__decap_1, (6.9,32.64), x_reflection=True))
inverter.add(gdstk.Reference(sky130_ef_sc_hd__decap_1, (6.9,43.52)))
inverter.add(gdstk.Reference(sky130_fd_sc_hd__decap_3, (5.52,43.52)))
inverter.add(gdstk.Reference(sky130_fd_sc_hd__decap_3, (5.52,32.64), x_reflection=True))
inverter.add(gdstk.Reference(sky130_ef_sc_hd__decap_1, (6.9,32.64)))
inverter.add(gdstk.Reference(sky130_ef_sc_hd__decap_1, (6.9,38.08), x_reflection=True))
inverter.add(gdstk.Reference(sky130_ef_sc_hd__decap_1, (6.9,38.08)))
inverter.add(gdstk.Reference(sky130_ef_sc_hd__decap_1, (6.9,43.52), x_reflection=True))
inverter.add(gdstk.Reference(sky130_fd_sc_hd__decap_3, (5.52,43.52), x_reflection=True))
inverter.add(gdstk.Reference(sky130_fd_sc_hd__decap_6, (12.42,43.52), x_reflection=True))
inverter.add(gdstk.Reference(sky130_ef_sc_hd__decap_1, (6.9,16.32), x_reflection=True))
inverter.add(gdstk.Reference(sky130_ef_sc_hd__decap_1, (6.9,16.32)))
inverter.add(gdstk.Reference(sky130_fd_sc_hd__decap_3, (5.52,16.32)))
inverter.add(gdstk.Reference(sky130_fd_sc_hd__decap_3, (5.52,10.88)))
inverter.add(gdstk.Reference(sky130_ef_sc_hd__decap_1, (6.9,21.76), x_reflection=True))
inverter.add(gdstk.Reference(sky130_fd_sc_hd__decap_3, (5.52,21.76), x_reflection=True))
inverter.add(gdstk.Reference(sky130_fd_sc_hd__decap_3, (5.52,16.32), x_reflection=True))
inverter.add(gdstk.Reference(sky130_ef_sc_hd__decap_1, (6.9,21.76)))
inverter.add(gdstk.Reference(sky130_fd_sc_hd__decap_3, (5.52,21.76)))
inverter.add(gdstk.Reference(sky130_ef_sc_hd__decap_1, (6.9,10.88)))
inverter.add(gdstk.Reference(sky130_ef_sc_hd__decap_1, (6.9,27.2), x_reflection=True))
inverter.add(gdstk.Reference(sky130_fd_sc_hd__decap_3, (5.52,27.2), x_reflection=True))
inverter.add(gdstk.Reference(sky130_fd_sc_hd__decap_3, (28.98,27.2), rotation=pi))
inverter.add(gdstk.Reference(sky130_ef_sc_hd__decap_1, (17.94,16.32), x_reflection=True))
inverter.add(gdstk.Reference(sky130_fd_sc_hd__fill_1, (17.94,16.32)))
inverter.add(gdstk.Reference(sky130_ef_sc_hd__decap_1, (18.86,16.32)))
inverter.add(gdstk.Reference(sky130_fd_sc_hd__tapvpwr, (18.4,16.32)))
inverter.add(gdstk.Reference(sky130_fd_sc_hd__decap_6, (24.38,16.32)))
inverter.add(gdstk.Reference(sky130_fd_sc_hd__fill_1, (27.14,16.32)))
inverter.add(gdstk.Reference(sky130_fd_sc_hd__decap_3, (28.98,16.32), rotation=pi, x_reflection=True))
inverter.add(gdstk.Reference(sky130_fd_sc_hd__tapvpwr, (18.4,10.88)))
inverter.add(gdstk.Reference(sky130_fd_sc_hd__decap_6, (24.38,10.88)))
inverter.add(gdstk.Reference(sky130_fd_sc_hd__fill_1, (27.14,10.88)))
inverter.add(gdstk.Reference(sky130_ef_sc_hd__decap_1, (17.94,21.76), x_reflection=True))
inverter.add(gdstk.Reference(sky130_fd_sc_hd__decap_8, (23.46,21.76), x_reflection=True))
inverter.add(gdstk.Reference(sky130_fd_sc_hd__fill_1, (27.14,21.76), x_reflection=True))
inverter.add(gdstk.Reference(sky130_fd_sc_hd__decap_3, (28.98,21.76), rotation=pi))
inverter.add(gdstk.Reference(sky130_fd_sc_hd__decap_8, (23.46,16.32), x_reflection=True))
inverter.add(gdstk.Reference(sky130_fd_sc_hd__fill_1, (27.14,16.32), x_reflection=True))
inverter.add(gdstk.Reference(sky130_fd_sc_hd__decap_3, (28.98,10.88), rotation=pi, x_reflection=True))
inverter.add(gdstk.Reference(sky130_fd_sc_hd__fill_1, (17.94,21.76)))
inverter.add(gdstk.Reference(sky130_ef_sc_hd__decap_1, (18.86,21.76)))
inverter.add(gdstk.Reference(sky130_fd_sc_hd__tapvpwr, (18.4,21.76)))
inverter.add(gdstk.Reference(sky130_fd_sc_hd__decap_6, (24.38,21.76)))
inverter.add(gdstk.Reference(sky130_fd_sc_hd__fill_1, (27.14,21.76)))
inverter.add(gdstk.Reference(sky130_fd_sc_hd__decap_3, (28.98,21.76), rotation=pi, x_reflection=True))
inverter.add(gdstk.Reference(sky130_fd_sc_hd__decap_3, (28.98,16.32), rotation=pi))
inverter.add(gdstk.Reference(sky130_fd_sc_hd__fill_1, (17.94,10.88)))
inverter.add(gdstk.Reference(sky130_ef_sc_hd__decap_1, (18.86,10.88)))
inverter.add(gdstk.Reference(sky130_ef_sc_hd__decap_1, (17.94,27.2), x_reflection=True))
inverter.add(gdstk.Reference(sky130_fd_sc_hd__decap_8, (23.46,27.2), x_reflection=True))
inverter.add(gdstk.Reference(sky130_fd_sc_hd__fill_1, (27.14,27.2), x_reflection=True))
inverter.add(gdstk.Label('VGND', (17.25,43.52), layer=68, texttype=5))
inverter.add(gdstk.Label('VPWR', (17.25,46.24), layer=68, texttype=5))
inverter.add(gdstk.Label('in', (28.29,31.45), layer=68, texttype=5))
inverter.add(gdstk.Label('net1', (21.62,32.13), layer=68, texttype=5))
inverter.add(gdstk.Label('net2', (23.23,28.39), layer=68, texttype=5))
inverter.add(gdstk.Label('out', (27.14,27.71), layer=68, texttype=5))
inverter.add(gdstk.Label('VGND', (13.82,28.56), layer=71, texttype=5))
inverter.add(gdstk.Label('VPWR', (10.52,28.56), layer=71, texttype=5))
inverter.add(gdstk.Label('out', (32.5,27.54), layer=70, texttype=5))

lib.write_gds('inverter.gds')
